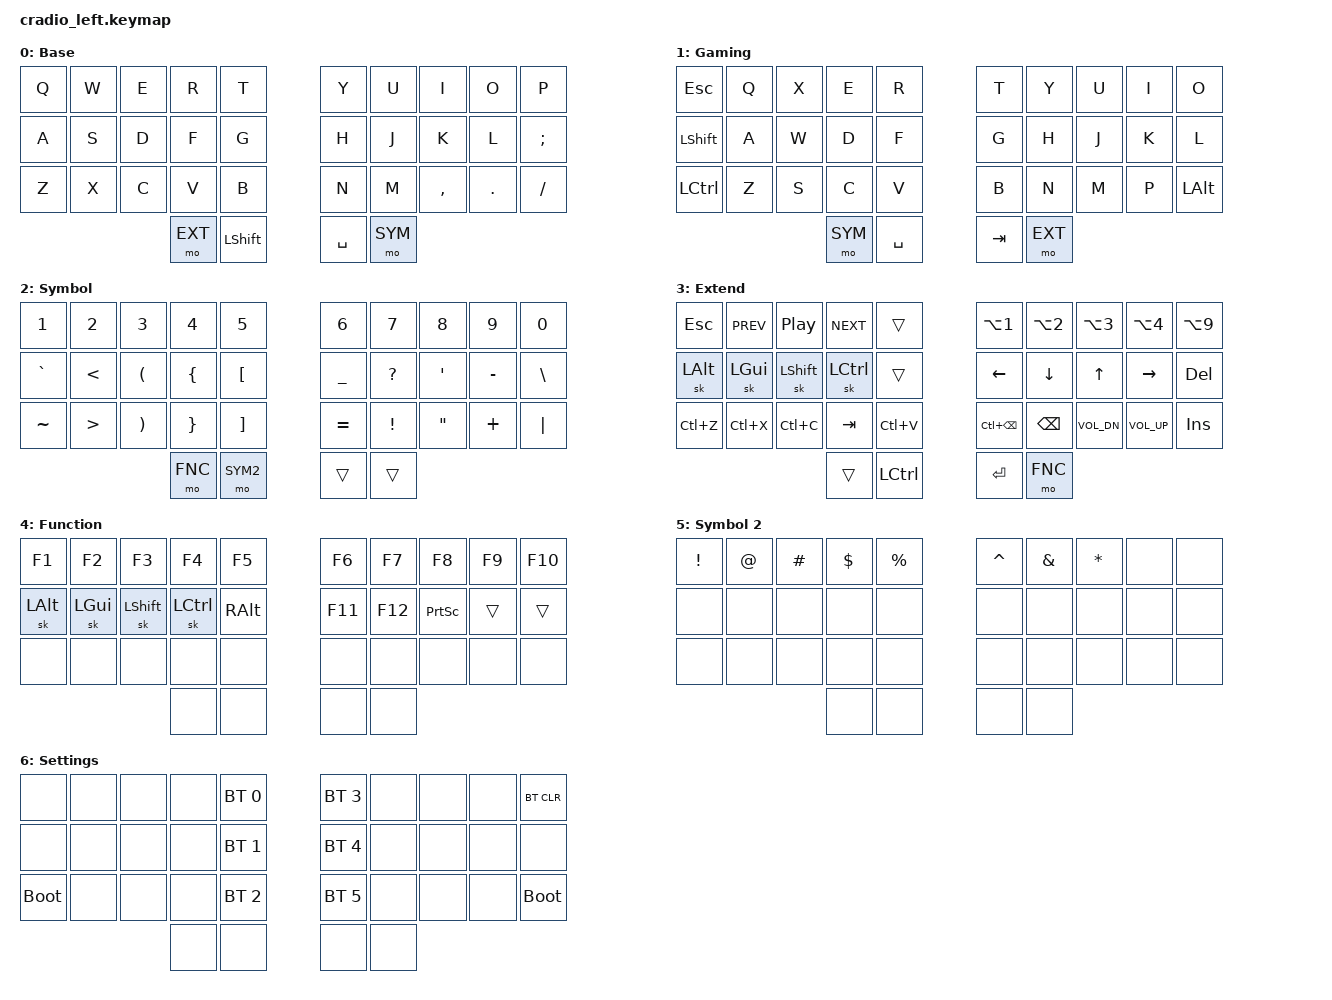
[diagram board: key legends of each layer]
/*
 * Copyright (c) 2020 duckyb
 * test
 * SPDX-License-Identifier: MIT
 */


#include <behaviors.dtsi>
#include <dt-bindings/zmk/keys.h>
#include <dt-bindings/zmk/bt.h>
#include <dt-bindings/zmk/outputs.h>

// Layer definitions
    #define BASE 0
    #define GAME 1
    #define SYM 2
    #define EXT 3
    #define FNC 4
    #define SYM2 5
    #define SETTINGS 6
// -----------------

&kscan0 {
    
    input-gpios
    = <&pro_micro  7 (GPIO_ACTIVE_LOW | GPIO_PULL_UP)>
    , <&pro_micro 18 (GPIO_ACTIVE_LOW | GPIO_PULL_UP)>
    , <&pro_micro 19 (GPIO_ACTIVE_LOW | GPIO_PULL_UP)>
    , <&pro_micro 20 (GPIO_ACTIVE_LOW | GPIO_PULL_UP)>
    , <&pro_micro 21 (GPIO_ACTIVE_LOW | GPIO_PULL_UP)>
    , <&pro_micro 15 (GPIO_ACTIVE_LOW | GPIO_PULL_UP)>
    , <&pro_micro 14 (GPIO_ACTIVE_LOW | GPIO_PULL_UP)>
    , <&pro_micro 16 (GPIO_ACTIVE_LOW | GPIO_PULL_UP)>  
    , <&gpio1      7 (GPIO_ACTIVE_LOW | GPIO_PULL_UP)>
    , <&pro_micro  1 (GPIO_ACTIVE_LOW | GPIO_PULL_UP)>
    , <&pro_micro  2 (GPIO_ACTIVE_LOW | GPIO_PULL_UP)>
    , <&pro_micro  3 (GPIO_ACTIVE_LOW | GPIO_PULL_UP)>
    , <&pro_micro  4 (GPIO_ACTIVE_LOW | GPIO_PULL_UP)>
    , <&pro_micro  5 (GPIO_ACTIVE_LOW | GPIO_PULL_UP)>
    , <&pro_micro  6 (GPIO_ACTIVE_LOW | GPIO_PULL_UP)>
    , <&gpio1      1 (GPIO_ACTIVE_LOW | GPIO_PULL_UP)>
    , <&pro_micro  9 (GPIO_ACTIVE_LOW | GPIO_PULL_UP)>
    ;
};
&sk {
    // don't release mods on other mods presses
    ignore-modifiers;
};

/ {
    combos {
        compatible = "zmk,combos";

        // internal-left & external-right thumb keys
        combo_sym2 {
            timeout-ms = <200>;
            key-positions = <31 33>;
            bindings = <&mo SYM2>;
            layers = <0>;
        };

        // both right thumb keys
        combo_game {
            timeout-ms = <200>;
            key-positions = <32 33>;
            bindings = <&tog GAME>;
        };

        // both left thumb keys
        combo_settings {
            timeout-ms = <200>;
            key-positions = <30 31>;
            bindings = <&mo SETTINGS>;
            layers = <0>;
        };
    };

    keymap {
        compatible = "zmk,keymap";

        // Base alpha layer
        default_layer {
            label = "Base";
            bindings = <
            &kp Q &kp W &kp E &kp R &kp T                           &kp Y &kp U &kp I &kp O &kp P 
            &kp A &kp S &kp D &kp F &kp G                           &kp H &kp J &kp K &kp L &kp SEMI
            &kp Z &kp X &kp C &kp V &kp B                           &kp N &kp M &kp COMMA &kp DOT &kp FSLH
                        &mo EXT &kp LSHIFT                          &kp SPACE &mo SYM
            >;
        };

        // Used when playing games
        gaming_layer {
            label = "Gaming";
            bindings = <
            &kp ESC &kp Q &kp X &kp E &kp R                         &kp T &kp Y &kp U &kp I &kp O
            &kp LSHIFT &kp A &kp W &kp D &kp F                      &kp G &kp H &kp J &kp K &kp L
            &kp LCTRL &kp Z &kp S &kp C &kp V                       &kp B &kp N &kp M &kp P &kp LALT
                            &mo SYM &kp SPACE                       &kp TAB &mo EXT
            >;
        };

        // Numbers and high frequency symbols
        symbol_layer {
            label = "Symbol";
            bindings = <
            &kp N1 &kp N2 &kp N3 &kp N4 &kp N5                      &kp N6 &kp N7 &kp N8 &kp N9 &kp N0
            &kp GRAVE &kp LT &kp LPAR &kp LBRC &kp LBKT             &kp UNDER &kp QMARK &kp SQT &kp MINUS &kp BSLH
            &kp TILDE &kp GT &kp RPAR &kp RBRC &kp RBKT             &kp EQUAL &kp EXCL &kp DQT &kp PLUS &kp PIPE
                                        &mo FNC &mo SYM2            &trans &trans
            >;
        };

        // Main modifiers and arrow keys
        extend_layer {
            label = "Extend";
            bindings = <
            &kp ESC &kp C_PREV &kp C_PP &kp C_NEXT &trans           &kp LA(N1) &kp LA(N2) &kp LA(N3) &kp LA(N4) &kp LA(N9) 
            &sk LALT &sk LGUI &sk LSHIFT &sk LCTRL &trans           &kp LEFT &kp DOWN &kp UP &kp RIGHT &kp DEL
            &kp LC(Z) &kp LC(X) &kp LC(C) &kp TAB  &kp LC(V)        &kp LC(BSPC) &kp BSPC &kp C_VOL_DN &kp C_VOL_UP &kp INS
                                                &trans &kp LCTRL    &kp ENTER &mo FNC 
            >;
        };

        // Function keys with modifiers
        function_layer {
            label = "Function";
            bindings = <
            &kp F1 &kp F2 &kp F3 &kp F4 &kp F5                      &kp F6 &kp F7 &kp F8 &kp F9 &kp F10 
            &sk LALT &sk LGUI &sk LSHIFT &sk LCTRL &kp RALT         &kp F11 &kp F12 &kp PRINTSCREEN &trans &trans
            &none &none &none &none &none                           &none &none &none &none &none 
                                                &none &none         &none &none  
            >;
        };

        // Low frequency symbols.
        symbols_2_layer {
            label = "Symbol 2";
            bindings = <
            &kp EXCL &kp AT &kp HASH &kp DLLR &kp PRCNT             &kp CARET &kp AMPS &kp ASTRK &none &none 
            &none &none &none &none &none                           &none &none &none &none &none
            &none &none &none &none &none                           &none &none &none &none &none
                                            &none &none             &none &none 
            >;
        };
        
        // Used to change the keyboard's settings.
        settings_layer {
            label = "Settings";
            bindings = <
            &none &none &none &none &bt BT_SEL 0                    &bt BT_SEL 3 &none &none &none &bt BT_CLR 
            &none &none &none &none &bt BT_SEL 1                    &bt BT_SEL 4 &none &none &none &none
            &bootloader &none &none &none &bt BT_SEL 2                    &bt BT_SEL 5 &none &none &none &bootloader 
                                    &none &none                     &none &none 
            >;
        };
    };
};

